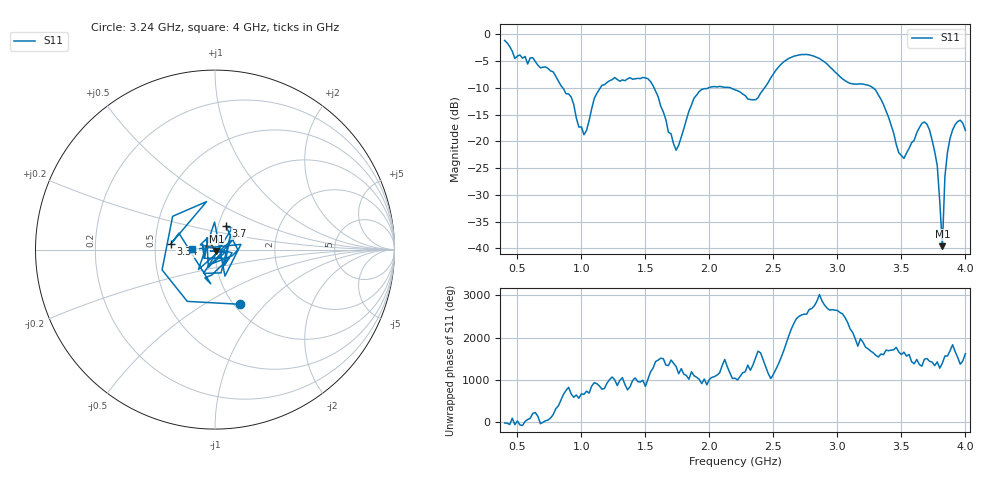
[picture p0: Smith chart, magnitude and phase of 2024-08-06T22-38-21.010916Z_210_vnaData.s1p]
!Created with skrf (http://scikit-rf.org).
# Hz S RI R 50.0
!freq ReS11 ImS11
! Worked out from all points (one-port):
!   181 points, 400 MHz to 4 GHz, reference 50 ohm
!   lowest |S11| = -39.6 dB at 3.82 GHz (marker M1), VSWR 1.02, Z = 50.7 - j0.757 ohm
!   |S11| at or under -10 dB: 854.4 MHz to 1.147 GHz (293 MHz wide, 29.3 % of centre); 1.568 GHz to 1.993 GHz (425.2 MHz wide, 23.9 % of centre); 3.279 GHz to end of sweep (the widest 3 of 4)
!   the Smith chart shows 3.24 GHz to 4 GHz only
!   S11 on the Smith chart (normalised r, x): 3.24 GHz: 1.06, -0.73; 3.34 GHz: 0.60, +0.04; 3.7 GHz: 1.09, +0.29; 4 GHz: 0.78, +0.00
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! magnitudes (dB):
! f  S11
! 400 MHz  -1.1
! 480 MHz  -4.5
! 620 MHz  -4.4
! 860 MHz  -10.2
! 920 MHz  -11.7
! 1.02 GHz  -18.8
! 1.16 GHz  -9.5
! 1.3 GHz  -8.8
! 1.52 GHz  -8.3
! 1.74 GHz  -21.7
! 1.76 GHz  -20.7
! 1.92 GHz  -10.7
! 2.2 GHz  -10.3
! 2.36 GHz  -12.2
! 2.66 GHz  -4.1
! 2.86 GHz  -4.5
! 3.1 GHz  -9.2
! 3.24 GHz  -9.5
! 3.34 GHz  -12.1
! 3.48 GHz  -22.2
! 3.56 GHz  -21.3
! 3.7 GHz  -16.8
! 3.78 GHz  -24.5
! 3.82 GHz  -39.6
! 3.84 GHz  -26.6
! 3.88 GHz  -19.4
! 3.96 GHz  -16.0
! 4 GHz  -18.0
